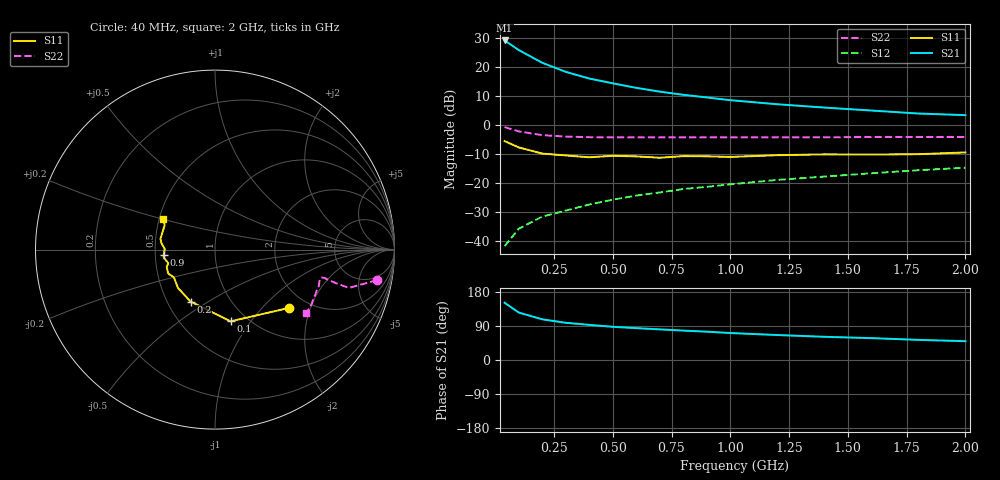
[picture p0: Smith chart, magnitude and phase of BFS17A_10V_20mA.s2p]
! Filename:  BFS17AJ.S2P  Version:  2.0
! Philips part #: BFS17A  Date: May 1990
! Bias condition: Vce=10V, Ic=20mA
#  MHz  S  MA  R  50
! Freq  S11  S21  S12  S22  !GUM [dB]
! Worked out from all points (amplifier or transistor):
!   16 points, 40 MHz to 2 GHz, reference 50 ohm
!   highest |S21| = 29.2 dB at 40 MHz (marker M1)
!   |S21| within 3 dB of that: start of sweep to 94.36 MHz
!   unconditionally stable (mu >= 1): 296.7 MHz to 1.836 GHz
!   at 200 MHz: K = 0.84, MSG = 26.6 dB, |S12| = -31.7 dB
!   at 800 MHz: K = 1.07, MAG = 14.7 dB, |S12| = -22.2 dB
!   at 2 GHz: K = 0.95, MSG = 9.1 dB, |S12| = -14.8 dB
!   S11 on the Smith chart (normalised r, x): 40 MHz: 1.61, -1.45; 100 MHz: 0.84, -0.80; 200 MHz: 0.65, -0.42; 900 MHz: 0.56, -0.04; 2 GHz: 0.53, +0.20
40  0.526 -38.1  28.98 151.1  0.008 75.1  0.919 -10.7
100  0.409 -77.7  19.8 125.2  0.016 64.3  0.775 -16.0
200  0.32 -115.1  11.91 107.4  0.026 66.7  0.667 -15.2
300  0.297 -134.0  8.293 98.2  0.033 69.8  0.63 -14.5
400  0.276 -146.2  6.358 92.7  0.042 71.7  0.615 -14.7
500  0.293 -152.8  5.256 87.6  0.051 73.3  0.609 -15.1
600  0.286 -160.3  4.387 84.1  0.06 75.4  0.608 -16.1
700  0.271 -163.7  3.775 80.8  0.068 76.9  0.608 -17.2
800  0.289 -171.1  3.323 77.6  0.078 76.9  0.611 -18.4
900  0.287 -174.0  2.993 74.7  0.085 77.7  0.613 -19.5
1000  0.28 179.2  2.684 71.2  0.094 78.6  0.61 -20.6
1200  0.3 173.3  2.282 65.9  0.112 79.0  0.612 -23.3
1400  0.31 168.8  2 61.2  0.128 79.2  0.613 -26.5
1600  0.308 163.6  1.778 57.7  0.146 80.4  0.618 -29.3
1800  0.312 154.0  1.577 53.1  0.165 80.7  0.619 -32.1
2000  0.335 149.6  1.48 49.6  0.182 80.3  0.619 -35.1
